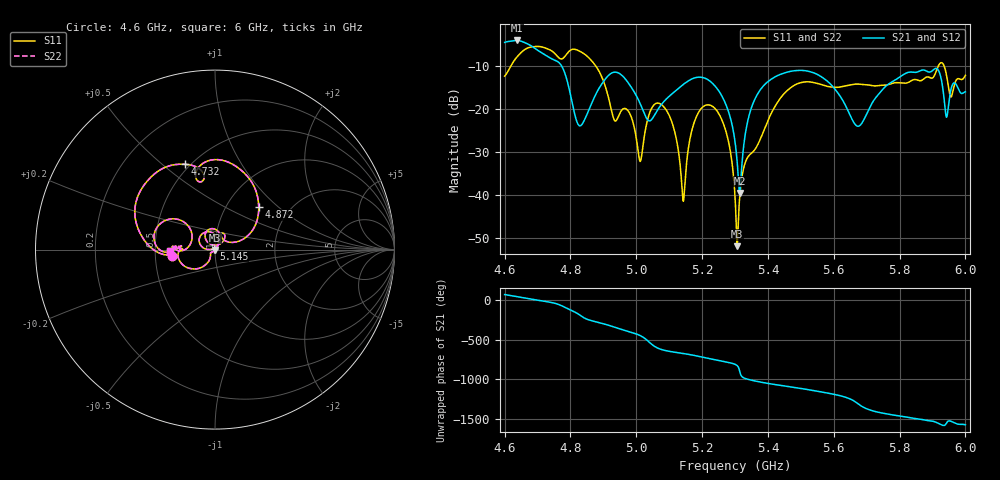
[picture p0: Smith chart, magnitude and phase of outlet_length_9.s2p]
! TOUCHSTONE file generated by CST MICROWAVE STUDIO
! Date and time: Mon Dec  2 04:52:23 2024
! Project name: test_tuning.cst
! Parameters = {airCoaxOuterDiameter=3; chamferAngle=45; chamferWidth=24; connectorLength=10; drillingHoleDiameter=4.1; feedLength=60; flareDiameter=130; flareLength=70; gratingDistance=0; gratingGap=1.90274; outletLength=60; polarizerLength=134; probe1Diameter=1.3; probe1Distance=14; probe1Length=1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
! Header version: 2024
! Port assignment regex: !\s*Touchstone port\s*([0-9]+)\s*=\s*(CST MWS port|CST DES external port|CST DES block port)\s*(.+)\s* \(\"(.*)\"\)(\s*mode\s*([0-9]+))?.*
! Touchstone port assignment:
! Touchstone port 1 = CST MWS port 1 ("Input1")
! Touchstone port 2 = CST MWS port 2 ("Input2")
# GHz S MA R 50
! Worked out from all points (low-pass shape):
!   1001 points, 4.6 GHz to 6 GHz, reference 50 ohm
!   highest |S21| = -3.96 dB at 4.636 GHz (marker M1); lowest = -39.5 dB at 5.314 GHz (marker M2)
!   |S21| within 3 dB of the highest: start of sweep to 4.716 GHz
!   lowest |S11| = -51.8 dB at 5.307 GHz (marker M3), VSWR 1.01, Z = 50.1 - j0.215 ohm
!   |S11| at or under -10 dB: start of sweep to 4.61833 GHz; 4.878 GHz to 5.917 GHz (1.039 GHz wide, 19.3 % of centre); 5.936 GHz to end of sweep
!   |S22| runs from -51.8 to -5.4 dB; largest |S21 - S12| = 1.3e-06
!   S11 on the Smith chart (normalised r, x): 4.6 GHz: 0.61, -0.05; 4.732 GHz: 0.47, +0.60; 4.872 GHz: 1.41, +0.76; 5.145 GHz: 0.99, +0.01; 6 GHz: 0.60, -0.01
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4.6  0.2436 -171.5  0.6009 68.4  0.6009 68.4  0.2436 -171.5
4.6364  0.4022 171.7  0.6337 43.1  0.6337 43.1  0.4022 171.7
4.7316  0.5041 109.4  0.4111 -23.8  0.4111 -23.8  0.5041 109.4
4.8338  0.4621 70.7  0.06597 154.7  0.06597 154.7  0.4621 70.7
4.8716  0.3407 44.3  0.1355 91.2  0.1355 91.2  0.3408 44.3
4.9388  0.07391 54.7  0.2706 11.5  0.2706 11.5  0.07391 54.7
4.9766  0.0946 54.6  0.2012 -36.7  0.2012 -36.7  0.0946 54.6
5.0116  0.02479 87.5  0.1173 -87.4  0.1173 -87.4  0.02479 87.5
5.0676  0.1182 98.7  0.1024 110.6  0.1024 110.6  0.1182 98.7
5.111  0.06597 62.1  0.1543 66.5  0.1543 66.5  0.06597 62.1
5.1446  0.009261 140.3  0.1974 45.7  0.1974 45.7  0.009262 140.3
5.1754  0.06938 169.9  0.2313 23.2  0.2313 23.2  0.06938 169.9
5.2244  0.1119 121.7  0.2124 -19.2  0.2124 -19.2  0.1119 121.7
5.2748  0.0515 70.2  0.1077 -61.0  0.1077 -61.0  0.0515 70.2
5.3  0.009711 34.6  0.04225 -88.9  0.04225 -88.9  0.009711 34.6
5.307  0.002562 -56.8  0.02342 -107.0  0.02342 -107.0  0.002561 -56.9
5.314  0.00933 -124.5  0.01065 -173.4  0.01065 -173.4  0.00933 -124.5
5.3756  0.04393 -125.0  0.1662 48.8  0.1662 48.8  0.04393 -125.0
5.5338  0.2069 -173.6  0.2704 -55.7  0.2704 -55.7  0.2069 -173.6
5.6724  0.1971 175.9  0.06365 139.1  0.06365 139.1  0.1971 175.9
5.7676  0.1951 176.9  0.1983 1.8  0.1983 1.8  0.1951 176.9
6  0.2487 -177.9  0.1604 -129.9  0.1604 -129.9  0.2487 -177.9
